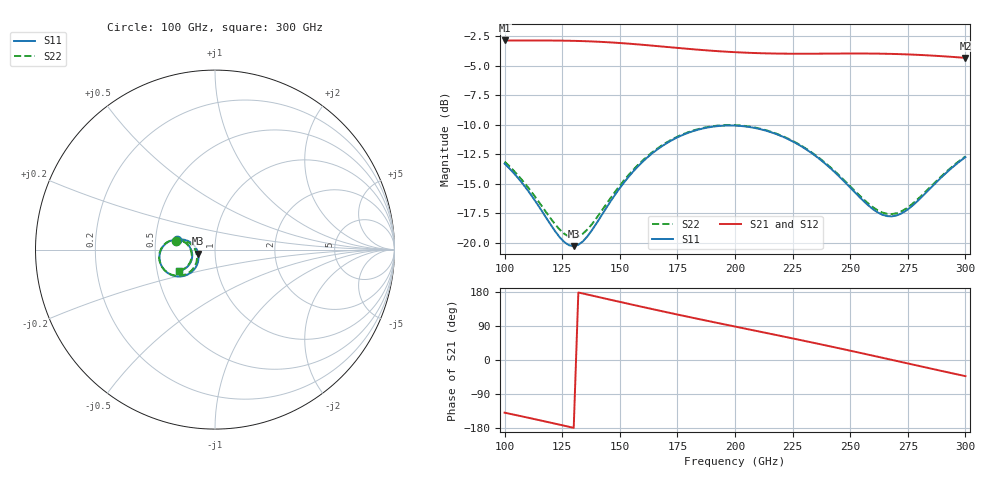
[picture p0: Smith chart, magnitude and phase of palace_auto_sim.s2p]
#  GHZ S DB R 50
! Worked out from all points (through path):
!   101 points, 100 GHz to 300 GHz, reference 50 ohm
!   highest |S21| = -2.85 dB at 100 GHz (marker M1); lowest = -4.3 dB at 300 GHz (marker M2)
!   group delay of S21, straight-line fit = 3.63 ps
!   lowest |S11| = -20.3 dB at 130 GHz (marker M3), VSWR 1.21, Z = 41.4 - j1.86 ohm
!   |S11| at or under -10 dB: start of sweep to end of sweep
!   |S22| runs from -19.6 to -10.0 dB; largest |S21 - S12| = 0
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100  -13.30 165.1  -2.85 -139.0  -2.85 -139.0  -13.13 166.7
108  -15.04 162.2  -2.86 -149.4  -2.86 -149.4  -14.79 164.1
116  -17.27 164.3  -2.86 -160.0  -2.86 -160.0  -16.86 166.4
124  -19.56 176.4  -2.87 -170.9  -2.87 -170.9  -18.92 177.7
130  -20.30 -166.7  -2.89 -179.1  -2.89 -179.1  -19.57 -167.2
134  -19.89 -154.9  -2.91 175.4  -2.91 175.4  -19.24 -156.7
142  -17.72 -140.0  -2.97 164.4  -2.97 164.4  -17.34 -142.6
150  -15.37 -136.1  -3.07 153.4  -3.07 153.4  -15.17 -138.4
158  -13.51 -138.0  -3.19 142.5  -3.19 142.5  -13.39 -139.9
168  -11.86 -144.1  -3.36 129.2  -3.36 129.2  -11.79 -145.5
176  -10.98 -150.2  -3.50 118.7  -3.50 118.7  -10.93 -151.3
184  -10.42 -156.7  -3.64 108.4  -3.64 108.4  -10.37 -157.7
200  -10.08 -170.1  -3.85 88.3  -3.85 88.3  -10.04 -170.6
216  -10.66 177.5  -3.96 68.3  -3.96 68.3  -10.62 177.2
234  -12.51 166.9  -3.98 45.5  -3.98 45.5  -12.45 166.9
244  -14.16 164.8  -3.97 32.5  -3.97 32.5  -14.07 165.0
252  -15.73 167.4  -3.96 21.9  -3.96 21.9  -15.61 167.6
262  -17.45 178.8  -3.97 8.5  -3.97 8.5  -17.27 178.9
268  -17.77 -170.4  -3.99 0.4  -3.99 0.4  -17.58 -170.7
274  -17.32 -160.0  -4.03 -7.7  -4.03 -7.7  -17.15 -160.6
284  -15.55 -149.6  -4.12 -21.3  -4.12 -21.3  -15.43 -150.3
300  -12.75 -149.2  -4.33 -42.6  -4.33 -42.6  -12.69 -149.8
